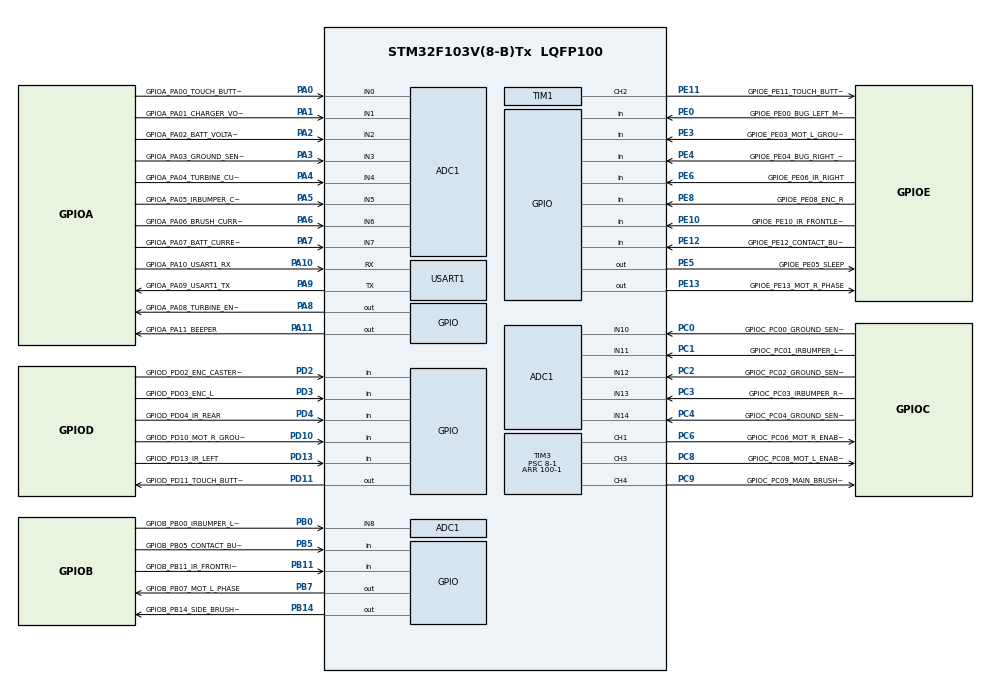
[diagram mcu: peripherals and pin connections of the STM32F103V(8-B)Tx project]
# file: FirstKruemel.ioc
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PB14.GPIO_Label=GPIOB_PB14_SIDE_BRUSH_ENABLE
PE8.GPIO_PuPd=GPIO_NOPULL
PC6.GPIO_Label=GPIOC_PC06_MOT_R_ENABLE
PE10.GPIO_PuPd=GPIO_NOPULL
PA6.GPIO_Label=GPIOA_PA06_BRUSH_CURRENT
PB13.Signal=SPI2_SCK
TIM3.Channel-PWM\ Generation4\ CH4=TIM_CHANNEL_4
PE6.GPIO_Label=GPIOE_PE06_IR_RIGHT
PD4.Signal=GPIO_Input
PC3.Signal=ADCx_IN13
PE5.Signal=GPIO_Output
PC4.GPIO_Label=GPIOC_PC04_GROUND_SENSOR_FRONTRIGHT
NVIC.TIM2_IRQn=true\:0\:0\:false\:false\:true\:false\:false\:true
PE4.GPIO_Label=GPIOE_PE04_BUG_RIGHT_MAGNET
SH.ADCx_IN8.0=ADC1_IN8,IN8
PA8.Signal=GPIO_Output
TIM4.Period=100
PE10.Signal=GPIO_Input
VP_TIM1_VS_ClockSourceINT.Mode=Internal
Mcu.Package=LQFP100
VP_SYS_VS_tim2.Mode=TIM2
ADC1.EnableInjectedConversion=DISABLE
NVIC.TimeBase=TIM2_IRQn
SH.ADCx_IN14.0=ADC1_IN14,IN14
NVIC.TimeBaseIP=TIM2
PA10.Signal=USART1_RX
PE12.GPIO_Label=GPIOE_PE12_CONTACT_BUMPER_R
RCC.APB1TimFreq_Value=8000000
TIM1.Period=100-1
PD3.GPIO_PuPd=GPIO_NOPULL
NVIC.USART1_IRQn=true\:5\:0\:false\:false\:true\:true\:true\:true
PE10.GPIO_Label=GPIOE_PE10_IR_FRONTLEFT
PE6.GPIO_PuPd=GPIO_NOPULL
PA4.GPIO_Label=GPIOA_PA04_TURBINE_CURRENT
PE12.GPIO_PuPd=GPIO_NOPULL
PB7.GPIO_PuPd=GPIO_NOPULL
FREERTOS.Tasks01=defaultTask,24,128,StartDefaultTask,Default,NULL,Dynamic,NULL,NULL;motionWD,33,128,motion_wd,Default,NULL,Dynamic,NULL,NULL
PA1.GPIO_Mode=GPIO_MODE_ANALOG
PD2.GPIO_PuPd=GPIO_NOPULL
TIM3.AutoReloadPreload=TIM_AUTORELOAD_PRELOAD_ENABLE
SH.ADCx_IN6.0=ADC1_IN6,IN6
PA9.GPIO_Label=GPIOA_PA09_USART1_TX
PD3.Signal=GPIO_Input
PC2.Signal=ADCx_IN12
PC6.Signal=S_TIM3_CH1
PB11.GPIO_Label=GPIOB_PB11_IR_FRONTRIGHT
PA11.GPIO_Label=GPIOA_PA11_BEEPER
PC0.Signal=ADCx_IN10
RCC.APB1CLKDivider=RCC_HCLK_DIV2
PA0-WKUP.GPIO_Label=GPIOA_PA00_TOUCH_BUTTON
PA0-WKUP.Signal=ADCx_IN0
PD10.Signal=GPIO_Input
TIM3.Channel-PWM\ Generation3\ CH3=TIM_CHANNEL_3
PA8.GPIO_Label=GPIOA_PA08_TURBINE_ENABLE
SH.ADCx_IN7.0=ADC1_IN7,IN7
Dma.USART1_RX.0.Direction=DMA_PERIPH_TO_MEMORY
PE8.GPIO_Label=GPIOE_PE08_ENC_R
PA9.Signal=USART1_TX
TIM1.Channel-PWM\ Generation2\ CH2=TIM_CHANNEL_2
Dma.USART1_RX.0.PeriphInc=DMA_PINC_DISABLE
PB10.Signal=USART3_TX
PB14.Signal=GPIO_Output
PA5.Signal=ADCx_IN5
PE8.Signal=GPIO_Input
PA1.GPIO_Label=GPIOA_PA01_CHARGER_VOLTAGE
SH.ADCx_IN4.0=ADC1_IN4,IN4
PA13.Mode=Serial_Wire
PE4.GPIO_PuPd=GPIO_NOPULL
PA4.Signal=ADCx_IN4
ADC1.SamplingTime-1\#ChannelRegularConversion=ADC_SAMPLETIME_1CYCLE_5
PB5.Signal=GPIO_Input
ADC1.master=1
PE13.GPIO_Label=GPIOE_PE13_MOT_R_PHASE
PA5.GPIO_Label=GPIOA_PA05_IRBUMPER_CENTER
PD11.Signal=GPIO_Output
PB5.GPIO_PuPd=GPIO_NOPULL
PE5.GPIO_Label=GPIOE_PE05_SLEEP
USART1.VirtualMode=VM_ASYNC
ADC1.Rank-1\#ChannelRegularConversion=1
PA11.Signal=GPIO_Output
ProjectManager.HeapSize=0x200
SH.ADCx_IN5.0=ADC1_IN5,IN5
VP_TIM4_VS_ClockSourceINT.Mode=Internal
NVIC.PriorityGroup=NVIC_PRIORITYGROUP_4
PE3.Signal=GPIO_Input
PC3.GPIO_Label=GPIOC_PC03_IRBUMPER_RIGHT
PD2.Signal=GPIO_Input
PB0.Signal=ADCx_IN8
PC1.Signal=ADCx_IN11
PD2.GPIO_Label=GPIOD_PD02_ENC_CASTER_WHEEL
Mcu.Family=STM32F1
NVIC.DMA1_Channel5_IRQn=true\:5\:0\:false\:false\:true\:true\:false\:true
ADC1.ContinuousConvMode=ENABLE
PE11.GPIO_Label=GPIOE_PE11_TOUCH_BUTTON_COLOR_2
SH.ADCx_IN2.0=ADC1_IN2,IN2
PC0.GPIO_Label=GPIOC_PC00_GROUND_SENSOR_LEFT
PB0.GPIO_Label=GPIOB_PB00_IRBUMPER_LEFT
PB11.GPIO_PuPd=GPIO_NOPULL
PB13.GPIO_Label=GPIOB_PB13_SPI2_SCK
PB11.Signal=GPIO_Input
ProjectManager.StackSize=0x400
VP_FREERTOS_VS_CMSIS_V2.Mode=CMSIS_V2
PD13.Signal=GPIO_Input
PD11.GPIO_PuPd=GPIO_NOPULL
TIM1.Prescaler=8-1
PE5.GPIO_PuPd=GPIO_NOPULL
PD11.GPIO_Label=GPIOD_PD11_TOUCH_BUTTON_COLOR_1
SH.ADCx_IN3.0=ADC1_IN3,IN3
TIM3.Period=100-1
Dma.USART1_RX.0.Priority=DMA_PRIORITY_LOW
TIM3.Channel-PWM\ Generation1\ CH1=TIM_CHANNEL_1
PE13.GPIO_PuPd=GPIO_NOPULL
RCC.PLLMUL=RCC_PLL_MUL16
PE13.Signal=GPIO_Output
PA14.Mode=Serial_Wire
TIM3.Prescaler=8-1
PA10.GPIO_Label=GPIOA_PA10_USART1_RX
PB7.Signal=GPIO_Output
SH.ADCx_IN0.0=ADC1_IN0,IN0
SH.S_TIM3_CH1.0=TIM3_CH1,PWM Generation1 CH1
Dma.USART1_RX.0.MemInc=DMA_MINC_ENABLE
PE4.Signal=GPIO_Input
PB7.GPIO_Label=GPIOB_PB07_MOT_L_PHASE
PD13.GPIO_Label=GPIOD_PD13_IR_LEFT
PA6.Signal=ADCx_IN6
PA2.GPIO_Label=GPIOA_PA02_BATT_VOLTAGE
PE0.GPIO_Label=GPIOE_PE00_BUG_LEFT_MAGNET
SH.ADCx_IN1.0=ADC1_IN1,IN1
PB5.GPIO_Label=GPIOB_PB05_CONTACT_BUMPER_L
Dma.USART1_RX.0.Mode=DMA_NORMAL
PD3.GPIO_Label=GPIOD_PD03_ENC_L
Dma.Request0=USART1_RX
PC2.GPIO_Label=GPIOC_PC02_GROUND_SENSOR_FRONTLEFT
Dma.USART1_RX.0.Instance=DMA1_Channel5
VP_TIM3_VS_ClockSourceINT.Mode=Internal
PA3.Signal=ADCx_IN3
PE0.GPIO_PuPd=GPIO_NOPULL
SH.ADCx_IN13.0=ADC1_IN13,IN13
Dma.USART1_RX.0.PeriphDataAlignment=DMA_PDATAALIGN_BYTE
PA10.Mode=Asynchronous
PC9.GPIO_Label=GPIOC_PC09_MAIN_BRUSH_ENABLE
PC8.Signal=S_TIM3_CH3
PC4.Signal=ADCx_IN14
SH.S_TIM3_CH3.0=TIM3_CH3,PWM Generation3 CH3
PC8.GPIO_Label=GPIOC_PC08_MOT_L_ENABLE
PA13.Signal=SYS_JTMS-SWDIO
PD4.GPIO_PuPd=GPIO_NOPULL
PA9.Mode=Asynchronous
SH.ADCx_IN12.0=ADC1_IN12,IN12
ProjectManager.TargetToolchain=STM32CubeIDE
PB10.GPIO_Label=GPIOB_PB10_GROUND_SENSORS_TX
ADC1.Channel-1\#ChannelRegularConversion=ADC_CHANNEL_0
RCC.USBFreq_Value=64000000
PD10.GPIO_Label=GPIOD_PD10_MOT_R_GROUND
TIM4.Prescaler=8
PE11.Signal=S_TIM1_CH2
PA1.Signal=ADCx_IN1
board=custom
RCC.APB2Freq_Value=8000000
SH.ADCx_IN11.0=ADC1_IN11,IN11
SH.S_TIM1_CH2.0=TIM1_CH2,PWM Generation2 CH2
PD4.GPIO_Label=GPIOD_PD04_IR_REAR
PC1.GPIO_Label=GPIOC_PC01_IRBUMPER_LEFT_WALL
Dma.USART1_RX.0.MemDataAlignment=DMA_MDATAALIGN_BYTE
PD13.GPIO_PuPd=GPIO_NOPULL
PE6.Signal=GPIO_Input
ADC1.NbrOfConversion=1
Mcu.Name=STM32F103V(8-B)Tx
PE0.Signal=GPIO_Input
PE12.Signal=GPIO_Input
PA2.Signal=ADCx_IN2
PA7.GPIO_Label=GPIOA_PA07_BATT_CURRENT
PA14.Signal=SYS_JTCK-SWCLK
SH.ADCx_IN10.0=ADC1_IN10,IN10
ADC1.NbrOfConversionFlag=1
PE3.GPIO_Label=GPIOE_PE03_MOT_L_GROUND
PC9.Signal=S_TIM3_CH4
RCC.APB1Freq_Value=4000000
PA3.GPIO_Label=GPIOA_PA03_GROUND_SENSOR_RIGHT
SH.S_TIM3_CH4.0=TIM3_CH4,PWM Generation4 CH4
PA7.Signal=ADCx_IN7

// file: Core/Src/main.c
/* USER CODE BEGIN Header */
/**
  ******************************************************************************
  * @file           : main.c
  * @brief          : Main program body
  ******************************************************************************
  * @attention
  *
  * <h2><center>&copy; Copyright (c) 2021 STMicroelectronics.
  * All rights reserved.</center></h2>
  *
  * This software component is licensed by ST under BSD 3-Clause license,
  * the "License"; You may not use this file except in compliance with the
  * License. You may obtain a copy of the License at:
  *                        opensource.org/licenses/BSD-3-Clause
  *
  ******************************************************************************
  */
/* USER CODE END Header */
#include "main.h"
#include "cmsis_os.h"

/* USER CODE BEGIN Includes */
#include "ringbuffer.h"
#include <stdio.h>
#include "string.h"
#include <inttypes.h>
#include "parson.h"

/* USER CODE END Includes */

/* USER CODE BEGIN PTD */

struct Config {
	int Max_RSpeed;
	int Max_LSpeed;
	int Acc;
	int Tar_RSpeed;
	int Tar_LSpeed;
	int SideBrush;
	int MainBrush;
	int Turbine;
} myconfig;

int sgn(double x) {
  if (x > 0.0) return 1;
  if (x < 0.0) return -1;
  return 0;
}

/* USER CODE END PTD */

ADC_HandleTypeDef hadc1;

TIM_HandleTypeDef htim1;
TIM_HandleTypeDef htim3;
TIM_HandleTypeDef htim4;

UART_HandleTypeDef huart1;
DMA_HandleTypeDef hdma_usart1_rx;

/* Definitions for defaultTask */
osThreadId_t defaultTaskHandle;
const osThreadAttr_t defaultTask_attributes = {
  .name = "defaultTask",
  .stack_size = 128 * 4,
  .priority = (osPriority_t) osPriorityNormal,
};
/* Definitions for motionWD */
osThreadId_t motionWDHandle;
const osThreadAttr_t motionWD_attributes = {
  .name = "motionWD",
  .stack_size = 128 * 4,
  .priority = (osPriority_t) osPriorityAboveNormal1,
};
/* USER CODE BEGIN PV */
ringbuf_uint8t uart_rx_rb;
#define uart_tmp_rx_buffer_size 128
uint8_t uart_tmp_rx_buffer[uart_tmp_rx_buffer_size];
#define uart_rx_buffer_size 128
uint8_t uart_rx_buffer[uart_rx_buffer_size];
#define command_buffer_size 128
uint8_t command_buffer[command_buffer_size];

size_t i;

/* USER CODE END PV */

void SystemClock_Config(void);
static void MX_GPIO_Init(void);
static void MX_DMA_Init(void);
static void MX_ADC1_Init(void);
static void MX_TIM3_Init(void);
static void MX_TIM1_Init(void);
static void MX_TIM4_Init(void);
static void MX_USART1_UART_Init(void);
void StartDefaultTask(void *argument);
void motion_wd(void *argument);

/* USER CODE BEGIN 0 */

int setter(char* vars[], char* vals[], int Size)
{
	for (size_t t=0; t<Size;t++)
	{
		if (strcmp(vars[t], "Max_RSpeed")==0)
		{
			myconfig.Max_RSpeed = (int) strtol(vals[t], (char **)NULL, 10);
		}
		else if (strcmp(vars[t], "Max_LSpeed")==0)
		{
			myconfig.Max_LSpeed = (int) strtol(vals[t], (char **)NULL, 10);
		}
		else if (strcmp(vars[t], "Acc")==0)
		{
			myconfig.Acc = (int) strtol(vals[t], (char **)NULL, 10);
		}
		else if (strcmp(vars[t], "Tar_RSpeed")==0)
		{
			myconfig.Tar_RSpeed = (int) strtol(vals[t], (char **)NULL, 10);
		}
		else if (strcmp(vars[t], "Tar_LSpeed")==0)
		{
			myconfig.Tar_LSpeed = (int) strtol(vals[t], (char **)NULL, 10);
		}
		else if (strcmp(vars[t], "MainBrush")==0)
		{
			myconfig.MainBrush = (int) strtol(vals[t], (char **)NULL, 10);
		}
		else if (strcmp(vars[t], "SideBrush")==0)
		{
			myconfig.SideBrush= (int) strtol(vals[t], (char **)NULL, 10);
		}
		else if (strcmp(vars[t], "Turbine")==0)
		{
			myconfig.Turbine = (int) strtol(vals[t], (char **)NULL, 10);
		}
		else
		{
			return -1;
		}
	}
	return 0;
}

void getter(char* vars[], char* vals[], int Size)
{
	for (size_t t=0; t<Size;t++)
	{
		if (strcmp(vars[t], "Max_RSpeed")==0)
		{
			sprintf(vals[t], "%d", myconfig.Max_RSpeed);
		}
		else if (strcmp(vars[t], "Max_LSpeed")==0)
		{
			sprintf(vals[t], "%d", myconfig.Max_LSpeed);
		}
		else if (strcmp(vars[t], "Acc")==0)
		{
			sprintf(vals[t], "%d", myconfig.Acc);
		}
		else if (strcmp(vars[t], "Tar_RSpeed")==0)
		{
			sprintf(vals[t], "%d", myconfig.Tar_RSpeed);
		}
		else if (strcmp(vars[t], "Tar_LSpeed")==0)
		{
			sprintf(vals[t], "%d", myconfig.Tar_LSpeed);
		}
		else if (strcmp(vars[t], "MainBrush")==0)
		{
			sprintf(vals[t], "%d", myconfig.MainBrush);
		}
		else if (strcmp(vars[t], "SideBrush")==0)
		{
			sprintf(vals[t], "%d", myconfig.SideBrush);
		}
		else if (strcmp(vars[t], "Turbine")==0)
		{
			sprintf(vals[t], "%d", myconfig.Turbine);
		}
		else
		{
			sprintf(vals[t], "%d", -555);
		}
	}
}

void return_getter(char* vars[], char* vals[], int Size, char* ser)
{
	JSON_Value *root_value = json_value_init_object();
	JSON_Object *root_object = json_value_get_object(root_value);
	for (size_t t=0; t<Size; t++)
	{
		json_object_set_string(root_object, vars[t], vals[t]);
	}
	strcpy(ser, json_serialize_to_string(root_value));
}

void HAL_UARTEx_RxEventCallback(UART_HandleTypeDef *huart, uint16_t Size)
{
	if (huart->Instance == USART1)
	{
		for (int i=0;i<Size;i++)
		{
			if (uart_tmp_rx_buffer[i] == '\x0D')
			{
				// delete command_buffer
				command_buffer[0] = '\0';
				int c=0;
				while( !rb_isempty(&uart_rx_rb) )
				{
					uint8_t *tx_byte_ptr = rb_get(&uart_rx_rb);
					command_buffer[c] = *tx_byte_ptr;
					c++;
				}
				JSON_Value *root_value;
				JSON_Array *tokens;
				JSON_Object *token;
				root_value = json_parse_string(command_buffer);
				tokens = json_object(root_value);

				char* cmd = json_object_get_string(tokens, "command");
				int tot;
				if (strcmp(cmd,"get")==0 || strcmp(cmd, "set")==0)
				{
					JSON_Value* jsonvar = json_object_get_value(tokens, "var");
					JSON_Value* jsonval;
					if (strcmp(cmd, "set")==0)
					{
						jsonval = json_object_get_value(tokens, "val");
					}
					if (json_value_get_type(jsonvar) == JSONString)
					{
						tot=1;
					}
					else if (json_value_get_type(jsonvar) == JSONArray)
					{
						tot = json_array_get_count(json_array(jsonvar));
					}
					char vars[tot][20];
					char vals[tot][20];
					char* vals_ptr[tot];
					char* vars_ptr[tot];
					if (json_value_get_type(jsonvar) == JSONString)
					{
						strcpy(vars[0], json_value_get_string(jsonvar));
						vars_ptr[0] = vars[0];
						if (strcmp(cmd, "set")==0)
						{
							strcpy(vals[0], json_value_get_string(jsonval));
						}
						vals_ptr[0] = vals[0];
					}
					else if (json_value_get_type(jsonvar) == JSONArray)
					{
						JSON_Array* vararr = json_array(jsonvar);
						for (size_t t=0; t<tot;t++)
						{
							strcpy(vars[t], json_array_get_string(vararr,t));
							vars_ptr[t] = vars[t];
							if (strcmp(cmd, "set")==0)
							{
								strcpy(vals[t], json_array_get_string(json_array(jsonval),t));
							}
							vals_ptr[t] = vals[t];
						}
					}
					if (strcmp(cmd,"get")==0)
					{
						getter(vars_ptr,vals_ptr,tot);
						char ret[255];
						return_getter(vars_ptr, vals_ptr, tot, ret);
						HAL_UART_Transmit(&huart1, ret, strlen(ret), 1000);
					}
					else
					{
						int ret = setter(vars_ptr, vals_ptr, tot);
						if (ret==0)
						{
							HAL_UART_Transmit(&huart1, "1\x0D", 3, 1000);
						}
						else
						{
							HAL_UART_Transmit(&huart1, "0\x0D", 3, 1000);
						}
					}
				}
			}
			else
			{
				rb_put(&uart_rx_rb, uart_tmp_rx_buffer[i]);
			}
		}
		HAL_UARTEx_ReceiveToIdle_DMA(&huart1, uart_tmp_rx_buffer, uart_tmp_rx_buffer_size);
		__HAL_DMA_DISABLE_IT(&hdma_usart1_rx, DMA_IT_HT);
	}

}

/* USER CODE END 0 */

int main(void)
{

  /* MCU Configuration--------------------------------------------------------*/

  /* Reset of all peripherals, Initializes the Flash interface and the Systick. */
  HAL_Init();

  /* USER CODE BEGIN Init */
  myconfig.Acc = 5;
  myconfig.Max_LSpeed = 100;
  myconfig.Max_RSpeed = 100;
  myconfig.Tar_LSpeed = 0;
  myconfig.Tar_RSpeed = 0;

  /* USER CODE END Init */

  /* Configure the system clock */
  SystemClock_Config();

  /* Initialize all configured peripherals */
  MX_GPIO_Init();
  MX_DMA_Init();
  MX_ADC1_Init();
  MX_TIM3_Init();
  MX_TIM1_Init();
  MX_TIM4_Init();
  MX_USART1_UART_Init();
  /* USER CODE BEGIN 2 */

  rb_init(&uart_rx_rb, uart_rx_buffer, uart_rx_buffer_size);

  HAL_UARTEx_ReceiveToIdle_DMA(&huart1, uart_tmp_rx_buffer, uart_tmp_rx_buffer_size);
  __HAL_DMA_DISABLE_IT(&hdma_usart1_rx, DMA_IT_HT);

  HAL_UART_Transmit(&huart1, "Started\x0A\x0D", 9, 1000);

  HAL_ADC_Start(&hadc1);
  HAL_GPIO_WritePin(GPIOE_PE05_SLEEP_GPIO_Port, GPIOE_PE05_SLEEP_Pin, GPIO_PIN_SET);

  /* USER CODE END 2 */

  /* Init scheduler */
  osKernelInitialize();

  /* Create the thread(s) */
  /* creation of defaultTask */
  defaultTaskHandle = osThreadNew(StartDefaultTask, NULL, &defaultTask_attributes);

  /* creation of motionWD */
  motionWDHandle = osThreadNew(motion_wd, NULL, &motionWD_attributes);

  /* Start scheduler */
  osKernelStart();

  /* We should never get here as control is now taken by the scheduler */
  /* Infinite loop */
  while (1)
  {

  }
}

void SystemClock_Config(void)
{
  RCC_OscInitTypeDef RCC_OscInitStruct = {0};
  RCC_ClkInitTypeDef RCC_ClkInitStruct = {0};
  RCC_PeriphCLKInitTypeDef PeriphClkInit = {0};

  /** Initializes the RCC Oscillators according to the specified parameters
  * in the RCC_OscInitTypeDef structure.
  */
  RCC_OscInitStruct.OscillatorType = RCC_OSCILLATORTYPE_HSI;
  RCC_OscInitStruct.HSIState = RCC_HSI_ON;
  RCC_OscInitStruct.HSICalibrationValue = RCC_HSICALIBRATION_DEFAULT;
  RCC_OscInitStruct.PLL.PLLState = RCC_PLL_NONE;
  if (HAL_RCC_OscConfig(&RCC_OscInitStruct) != HAL_OK)
  {
    Error_Handler();
  }
  /** Initializes the CPU, AHB and APB buses clocks
  */
  RCC_ClkInitStruct.ClockType = RCC_CLOCKTYPE_HCLK|RCC_CLOCKTYPE_SYSCLK
                              |RCC_CLOCKTYPE_PCLK1|RCC_CLOCKTYPE_PCLK2;
  RCC_ClkInitStruct.SYSCLKSource = RCC_SYSCLKSOURCE_HSI;
  RCC_ClkInitStruct.AHBCLKDivider = RCC_SYSCLK_DIV1;
  RCC_ClkInitStruct.APB1CLKDivider = RCC_HCLK_DIV2;
  RCC_ClkInitStruct.APB2CLKDivider = RCC_HCLK_DIV1;

  if (HAL_RCC_ClockConfig(&RCC_ClkInitStruct, FLASH_LATENCY_0) != HAL_OK)
  {
    Error_Handler();
  }
  PeriphClkInit.PeriphClockSelection = RCC_PERIPHCLK_ADC;
  PeriphClkInit.AdcClockSelection = RCC_ADCPCLK2_DIV2;
  if (HAL_RCCEx_PeriphCLKConfig(&PeriphClkInit) != HAL_OK)
  {
    Error_Handler();
  }
}

static void MX_ADC1_Init(void)
{

  ADC_ChannelConfTypeDef sConfig = {0};

  /** Common config
  */
  hadc1.Instance = ADC1;
  hadc1.Init.ScanConvMode = ADC_SCAN_DISABLE;
  hadc1.Init.ContinuousConvMode = ENABLE;
  hadc1.Init.DiscontinuousConvMode = DISABLE;
  hadc1.Init.ExternalTrigConv = ADC_SOFTWARE_START;
  hadc1.Init.DataAlign = ADC_DATAALIGN_RIGHT;
  hadc1.Init.NbrOfConversion = 1;
  if (HAL_ADC_Init(&hadc1) != HAL_OK)
  {
    Error_Handler();
  }
  /** Configure Regular Channel
  */
  sConfig.Channel = ADC_CHANNEL_0;
  sConfig.Rank = ADC_REGULAR_RANK_1;
  sConfig.SamplingTime = ADC_SAMPLETIME_1CYCLE_5;
  if (HAL_ADC_ConfigChannel(&hadc1, &sConfig) != HAL_OK)
  {
    Error_Handler();
  }

}

static void MX_TIM1_Init(void)
{

  TIM_ClockConfigTypeDef sClockSourceConfig = {0};
  TIM_MasterConfigTypeDef sMasterConfig = {0};
  TIM_OC_InitTypeDef sConfigOC = {0};
  TIM_BreakDeadTimeConfigTypeDef sBreakDeadTimeConfig = {0};

  htim1.Instance = TIM1;
  htim1.Init.Prescaler = 8-1;
  htim1.Init.CounterMode = TIM_COUNTERMODE_UP;
  htim1.Init.Period = 100-1;
  htim1.Init.ClockDivision = TIM_CLOCKDIVISION_DIV1;
  htim1.Init.RepetitionCounter = 0;
  htim1.Init.AutoReloadPreload = TIM_AUTORELOAD_PRELOAD_DISABLE;
  if (HAL_TIM_Base_Init(&htim1) != HAL_OK)
  {
    Error_Handler();
  }
  sClockSourceConfig.ClockSource = TIM_CLOCKSOURCE_INTERNAL;
  if (HAL_TIM_ConfigClockSource(&htim1, &sClockSourceConfig) != HAL_OK)
  {
    Error_Handler();
  }
  if (HAL_TIM_PWM_Init(&htim1) != HAL_OK)
  {
    Error_Handler();
  }
  sMasterConfig.MasterOutputTrigger = TIM_TRGO_RESET;
  sMasterConfig.MasterSlaveMode = TIM_MASTERSLAVEMODE_DISABLE;
  if (HAL_TIMEx_MasterConfigSynchronization(&htim1, &sMasterConfig) != HAL_OK)
  {
    Error_Handler();
  }
  sConfigOC.OCMode = TIM_OCMODE_PWM1;
  sConfigOC.Pulse = 0;
  sConfigOC.OCPolarity = TIM_OCPOLARITY_HIGH;
  sConfigOC.OCNPolarity = TIM_OCNPOLARITY_HIGH;
  sConfigOC.OCFastMode = TIM_OCFAST_DISABLE;
  sConfigOC.OCIdleState = TIM_OCIDLESTATE_RESET;
  sConfigOC.OCNIdleState = TIM_OCNIDLESTATE_RESET;
  if (HAL_TIM_PWM_ConfigChannel(&htim1, &sConfigOC, TIM_CHANNEL_2) != HAL_OK)
  {
    Error_Handler();
  }
  sBreakDeadTimeConfig.OffStateRunMode = TIM_OSSR_DISABLE;
  sBreakDeadTimeConfig.OffStateIDLEMode = TIM_OSSI_DISABLE;
  sBreakDeadTimeConfig.LockLevel = TIM_LOCKLEVEL_OFF;
  sBreakDeadTimeConfig.DeadTime = 0;
  sBreakDeadTimeConfig.BreakState = TIM_BREAK_DISABLE;
  sBreakDeadTimeConfig.BreakPolarity = TIM_BREAKPOLARITY_HIGH;
  sBreakDeadTimeConfig.AutomaticOutput = TIM_AUTOMATICOUTPUT_DISABLE;
  if (HAL_TIMEx_ConfigBreakDeadTime(&htim1, &sBreakDeadTimeConfig) != HAL_OK)
  {
    Error_Handler();
  }
  HAL_TIM_MspPostInit(&htim1);

}

static void MX_TIM3_Init(void)
{

  TIM_ClockConfigTypeDef sClockSourceConfig = {0};
  TIM_MasterConfigTypeDef sMasterConfig = {0};
  TIM_OC_InitTypeDef sConfigOC = {0};

  htim3.Instance = TIM3;
  htim3.Init.Prescaler = 8-1;
  htim3.Init.CounterMode = TIM_COUNTERMODE_UP;
  htim3.Init.Period = 100-1;
  htim3.Init.ClockDivision = TIM_CLOCKDIVISION_DIV1;
  htim3.Init.AutoReloadPreload = TIM_AUTORELOAD_PRELOAD_ENABLE;
  if (HAL_TIM_Base_Init(&htim3) != HAL_OK)
  {
    Error_Handler();
  }
  sClockSourceConfig.ClockSource = TIM_CLOCKSOURCE_INTERNAL;
  if (HAL_TIM_ConfigClockSource(&htim3, &sClockSourceConfig) != HAL_OK)
  {
    Error_Handler();
  }
  if (HAL_TIM_PWM_Init(&htim3) != HAL_OK)
  {
    Error_Handler();
  }
  sMasterConfig.MasterOutputTrigger = TIM_TRGO_RESET;
  sMasterConfig.MasterSlaveMode = TIM_MASTERSLAVEMODE_DISABLE;
  if (HAL_TIMEx_MasterConfigSynchronization(&htim3, &sMasterConfig) != HAL_OK)
  {
    Error_Handler();
  }
  sConfigOC.OCMode = TIM_OCMODE_PWM1;
  sConfigOC.Pulse = 0;
  sConfigOC.OCPolarity = TIM_OCPOLARITY_HIGH;
  sConfigOC.OCFastMode = TIM_OCFAST_DISABLE;
  if (HAL_TIM_PWM_ConfigChannel(&htim3, &sConfigOC, TIM_CHANNEL_1) != HAL_OK)
  {
    Error_Handler();
  }
  if (HAL_TIM_PWM_ConfigChannel(&htim3, &sConfigOC, TIM_CHANNEL_3) != HAL_OK)
  {
    Error_Handler();
  }
  if (HAL_TIM_PWM_ConfigChannel(&htim3, &sConfigOC, TIM_CHANNEL_4) != HAL_OK)
  {
    Error_Handler();
  }
  HAL_TIM_MspPostInit(&htim3);

}

static void MX_TIM4_Init(void)
{

  TIM_ClockConfigTypeDef sClockSourceConfig = {0};
  TIM_MasterConfigTypeDef sMasterConfig = {0};

  htim4.Instance = TIM4;
  htim4.Init.Prescaler = 8;
  htim4.Init.CounterMode = TIM_COUNTERMODE_UP;
  htim4.Init.Period = 100;
  htim4.Init.ClockDivision = TIM_CLOCKDIVISION_DIV1;
  htim4.Init.AutoReloadPreload = TIM_AUTORELOAD_PRELOAD_DISABLE;
  if (HAL_TIM_Base_Init(&htim4) != HAL_OK)
  {
    Error_Handler();
  }
  sClockSourceConfig.ClockSource = TIM_CLOCKSOURCE_INTERNAL;
  if (HAL_TIM_ConfigClockSource(&htim4, &sClockSourceConfig) != HAL_OK)
  {
    Error_Handler();
  }
  sMasterConfig.MasterOutputTrigger = TIM_TRGO_RESET;
  sMasterConfig.MasterSlaveMode = TIM_MASTERSLAVEMODE_DISABLE;
  if (HAL_TIMEx_MasterConfigSynchronization(&htim4, &sMasterConfig) != HAL_OK)
  {
    Error_Handler();
  }

}

static void MX_USART1_UART_Init(void)
{

  huart1.Instance = USART1;
  huart1.Init.BaudRate = 115200;
  huart1.Init.WordLength = UART_WORDLENGTH_8B;
  huart1.Init.StopBits = UART_STOPBITS_1;
  huart1.Init.Parity = UART_PARITY_NONE;
  huart1.Init.Mode = UART_MODE_TX_RX;
  huart1.Init.HwFlowCtl = UART_HWCONTROL_NONE;
  huart1.Init.OverSampling = UART_OVERSAMPLING_16;
  if (HAL_UART_Init(&huart1) != HAL_OK)
  {
    Error_Handler();
  }

}

static void MX_DMA_Init(void)
{

  /* DMA controller clock enable */
  __HAL_RCC_DMA1_CLK_ENABLE();

  /* DMA interrupt init */
  /* DMA1_Channel5_IRQn interrupt configuration */
  HAL_NVIC_SetPriority(DMA1_Channel5_IRQn, 5, 0);
  HAL_NVIC_EnableIRQ(DMA1_Channel5_IRQn);

}

static void MX_GPIO_Init(void)
{
  GPIO_InitTypeDef GPIO_InitStruct = {0};

  /* GPIO Ports Clock Enable */
  __HAL_RCC_GPIOE_CLK_ENABLE();
  __HAL_RCC_GPIOC_CLK_ENABLE();
  __HAL_RCC_GPIOA_CLK_ENABLE();
  __HAL_RCC_GPIOB_CLK_ENABLE();
  __HAL_RCC_GPIOD_CLK_ENABLE();

  /*Configure GPIO pin Output Level */
  HAL_GPIO_WritePin(GPIOE, GPIOE_PE05_SLEEP_Pin|GPIOE_PE13_MOT_R_PHASE_Pin, GPIO_PIN_RESET);

  /*Configure GPIO pin Output Level */
  HAL_GPIO_WritePin(GPIOB, GPIOB_PB14_SIDE_BRUSH_ENABLE_Pin|GPIOB_PB07_MOT_L_PHASE_Pin, GPIO_PIN_RESET);

  /*Configure GPIO pin Output Level */
  HAL_GPIO_WritePin(GPIOD_PD11_TOUCH_BUTTON_COLOR_1_GPIO_Port, GPIOD_PD11_TOUCH_BUTTON_COLOR_1_Pin, GPIO_PIN_RESET);

  /*Configure GPIO pin Output Level */
  HAL_GPIO_WritePin(GPIOA, GPIOA_PA08_TURBINE_ENABLE_Pin|GPIOA_PA11_BEEPER_Pin, GPIO_PIN_RESET);

  /*Configure GPIO pins : GPIOE_PE03_MOT_L_GROUND_Pin GPIOE_PE04_BUG_RIGHT_MAGNET_Pin GPIOE_PE06_IR_RIGHT_Pin GPIOE_PE08_ENC_R_Pin
                           GPIOE_PE10_IR_FRONTLEFT_Pin GPIOE_PE12_CONTACT_BUMPER_R_Pin GPIOE_PE00_BUG_LEFT_MAGNET_Pin */
  GPIO_InitStruct.Pin = GPIOE_PE03_MOT_L_GROUND_Pin|GPIOE_PE04_BUG_RIGHT_MAGNET_Pin|GPIOE_PE06_IR_RIGHT_Pin|GPIOE_PE08_ENC_R_Pin
                          |GPIOE_PE10_IR_FRONTLEFT_Pin|GPIOE_PE12_CONTACT_BUMPER_R_Pin|GPIOE_PE00_BUG_LEFT_MAGNET_Pin;
  GPIO_InitStruct.Mode = GPIO_MODE_INPUT;
  GPIO_InitStruct.Pull = GPIO_NOPULL;
  HAL_GPIO_Init(GPIOE, &GPIO_InitStruct);

  /*Configure GPIO pins : GPIOE_PE05_SLEEP_Pin GPIOE_PE13_MOT_R_PHASE_Pin */
  GPIO_InitStruct.Pin = GPIOE_PE05_SLEEP_Pin|GPIOE_PE13_MOT_R_PHASE_Pin;
  GPIO_InitStruct.Mode = GPIO_MODE_OUTPUT_PP;
  GPIO_InitStruct.Pull = GPIO_NOPULL;
  GPIO_InitStruct.Speed = GPIO_SPEED_FREQ_LOW;
  HAL_GPIO_Init(GPIOE, &GPIO_InitStruct);

  /*Configure GPIO pins : GPIOB_PB10_GROUND_SENSORS_TX_Pin GPIOB_PB13_SPI2_SCK_Pin */
  GPIO_InitStruct.Pin = GPIOB_PB10_GROUND_SENSORS_TX_Pin|GPIOB_PB13_SPI2_SCK_Pin;
  GPIO_InitStruct.Mode = GPIO_MODE_AF_PP;
  GPIO_InitStruct.Speed = GPIO_SPEED_FREQ_HIGH;
  HAL_GPIO_Init(GPIOB, &GPIO_InitStruct);

  /*Configure GPIO pins : GPIOB_PB11_IR_FRONTRIGHT_Pin GPIOB_PB05_CONTACT_BUMPER_L_Pin */
  GPIO_InitStruct.Pin = GPIOB_PB11_IR_FRONTRIGHT_Pin|GPIOB_PB05_CONTACT_BUMPER_L_Pin;
  GPIO_InitStruct.Mode = GPIO_MODE_INPUT;
  GPIO_InitStruct.Pull = GPIO_NOPULL;
  HAL_GPIO_Init(GPIOB, &GPIO_InitStruct);

  /*Configure GPIO pins : GPIOB_PB14_SIDE_BRUSH_ENABLE_Pin GPIOB_PB07_MOT_L_PHASE_Pin */
  GPIO_InitStruct.Pin = GPIOB_PB14_SIDE_BRUSH_ENABLE_Pin|GPIOB_PB07_MOT_L_PHASE_Pin;
  GPIO_InitStruct.Mode = GPIO_MODE_OUTPUT_PP;
  GPIO_InitStruct.Pull = GPIO_NOPULL;
  GPIO_InitStruct.Speed = GPIO_SPEED_FREQ_LOW;
  HAL_GPIO_Init(GPIOB, &GPIO_InitStruct);

  /*Configure GPIO pins : GPIOD_PD10_MOT_R_GROUND_Pin GPIOD_PD13_IR_LEFT_Pin GPIOD_PD02_ENC_CASTER_WHEEL_Pin GPIOD_PD03_ENC_L_Pin
                           GPIOD_PD04_IR_REAR_Pin */
  GPIO_InitStruct.Pin = GPIOD_PD10_MOT_R_GROUND_Pin|GPIOD_PD13_IR_LEFT_Pin|GPIOD_PD02_ENC_CASTER_WHEEL_Pin|GPIOD_PD03_ENC_L_Pin
                          |GPIOD_PD04_IR_REAR_Pin;
  GPIO_InitStruct.Mode = GPIO_MODE_INPUT;
  GPIO_InitStruct.Pull = GPIO_NOPULL;
  HAL_GPIO_Init(GPIOD, &GPIO_InitStruct);

  /*Configure GPIO pin : GPIOD_PD11_TOUCH_BUTTON_COLOR_1_Pin */
  GPIO_InitStruct.Pin = GPIOD_PD11_TOUCH_BUTTON_COLOR_1_Pin;
  GPIO_InitStruct.Mode = GPIO_MODE_OUTPUT_PP;
  GPIO_InitStruct.Pull = GPIO_NOPULL;
  GPIO_InitStruct.Speed = GPIO_SPEED_FREQ_LOW;
  HAL_GPIO_Init(GPIOD_PD11_TOUCH_BUTTON_COLOR_1_GPIO_Port, &GPIO_InitStruct);

  /*Configure GPIO pins : GPIOA_PA08_TURBINE_ENABLE_Pin GPIOA_PA11_BEEPER_Pin */
  GPIO_InitStruct.Pin = GPIOA_PA08_TURBINE_ENABLE_Pin|GPIOA_PA11_BEEPER_Pin;
  GPIO_InitStruct.Mode = GPIO_MODE_OUTPUT_PP;
  GPIO_InitStruct.Pull = GPIO_NOPULL;
  GPIO_InitStruct.Speed = GPIO_SPEED_FREQ_LOW;
  HAL_GPIO_Init(GPIOA, &GPIO_InitStruct);

}

/* USER CODE BEGIN 4 */

void setPW(TIM_HandleTypeDef timer, uint32_t channel, uint16_t period, uint16_t pulse)
{
	 HAL_TIM_PWM_Stop(&timer, channel); // stop generation of pwm
	 TIM_OC_InitTypeDef sConfigOC;
	 timer.Init.Period = period; // set the period duration
	 HAL_TIM_PWM_Init(&timer); // reinititialise with new period value
	 sConfigOC.OCMode = TIM_OCMODE_PWM1;
	 sConfigOC.Pulse = pulse; // set the pulse duration
	 sConfigOC.OCPolarity = TIM_OCPOLARITY_HIGH;
	 sConfigOC.OCFastMode = TIM_OCFAST_DISABLE;
	 HAL_TIM_PWM_ConfigChannel(&timer, &sConfigOC, channel);
	 HAL_TIM_PWM_Start(&timer, channel); // start pwm generation
}

/* USER CODE END 4 */

void StartDefaultTask(void *argument)
{
  /* USER CODE BEGIN 5 */
	  int myadc;
	  int increment;
	  _Bool vacuum = 0;
	  _Bool butpressed = 0;
	  int green = 0;

  /* Infinite loop */
  for(;;)
  {
	  if (green > 95) increment = -1;
	  if (green < 5) increment = 1;

	  green += increment;
	  setPW(htim1, TIM_CHANNEL_2, 100, green);

	  myadc = HAL_ADC_GetValue(&hadc1);

	  if (myadc < 100){
		  if (!butpressed){
			  vacuum = !vacuum;
			  butpressed = 1;
			  if (vacuum){
				  HAL_GPIO_WritePin(GPIOD_PD11_TOUCH_BUTTON_COLOR_1_GPIO_Port, GPIOD_PD11_TOUCH_BUTTON_COLOR_1_Pin, GPIO_PIN_SET);
				  myconfig.SideBrush = 50;
				  myconfig.MainBrush = 50;
				  myconfig.Turbine = 50;
			  }else{
				  HAL_GPIO_WritePin(GPIOD_PD11_TOUCH_BUTTON_COLOR_1_GPIO_Port, GPIOD_PD11_TOUCH_BUTTON_COLOR_1_Pin, GPIO_PIN_RESET);
				  myconfig.SideBrush = 0;
				  myconfig.MainBrush = 0;
				  myconfig.Turbine = 0;
			  }}
	  }else{
		  butpressed = 0;
	  }
	  osDelay(50);
  }
  /* USER CODE END 5 */
}

void motion_wd(void *argument)
{
  /* USER CODE BEGIN motion_wd */
  /* Infinite loop */
  for(;;)
  {
	  // Main Brush
	  setPW(htim3, TIM_CHANNEL_4, 100, abs((int)myconfig.MainBrush));
	  // Side Brush
	  if (myconfig.SideBrush > 0)
	  {
		  HAL_GPIO_WritePin(GPIOB_PB14_SIDE_BRUSH_ENABLE_GPIO_Port, GPIOB_PB14_SIDE_BRUSH_ENABLE_Pin, GPIO_PIN_SET);
	  }
	  else
	  {
		  HAL_GPIO_WritePin(GPIOB_PB14_SIDE_BRUSH_ENABLE_GPIO_Port, GPIOB_PB14_SIDE_BRUSH_ENABLE_Pin, GPIO_PIN_RESET);
	  }
	  // Turbine
	  if (myconfig.Turbine > 0)
	  {
		  HAL_GPIO_WritePin(GPIOA_PA08_TURBINE_ENABLE_GPIO_Port, GPIOA_PA08_TURBINE_ENABLE_Pin, GPIO_PIN_SET);
	  }
	  else
	  {
		  HAL_GPIO_WritePin(GPIOA_PA08_TURBINE_ENABLE_GPIO_Port, GPIOA_PA08_TURBINE_ENABLE_Pin, GPIO_PIN_RESET);
	  }
	  // Left motor
	  setPW(htim3, TIM_CHANNEL_3, 100, abs((int)myconfig.Tar_LSpeed));
	  if (myconfig.Tar_LSpeed < 0)
	  {
		  HAL_GPIO_WritePin(GPIOB_PB07_MOT_L_PHASE_GPIO_Port, GPIOB_PB07_MOT_L_PHASE_Pin, GPIO_PIN_RESET);
	  }
	  else
	  {
		  HAL_GPIO_WritePin(GPIOB_PB07_MOT_L_PHASE_GPIO_Port, GPIOB_PB07_MOT_L_PHASE_Pin, GPIO_PIN_SET);
	  }
	  // Right motor
	  setPW(htim3, TIM_CHANNEL_1, 100, abs((int)myconfig.Tar_RSpeed));
	  if (myconfig.Tar_RSpeed < 0)
	  {
		  HAL_GPIO_WritePin(GPIOE_PE13_MOT_R_PHASE_GPIO_Port, GPIOE_PE13_MOT_R_PHASE_Pin, GPIO_PIN_SET);
	  }
	  else
	  {
		  HAL_GPIO_WritePin(GPIOE_PE13_MOT_R_PHASE_GPIO_Port, GPIOE_PE13_MOT_R_PHASE_Pin, GPIO_PIN_RESET);
	  }
    osDelay(50);
  }
  /* USER CODE END motion_wd */
}

 /**
  * @brief  Period elapsed callback in non blocking mode
  * @note   This function is called  when TIM2 interrupt took place, inside
  * HAL_TIM_IRQHandler(). It makes a direct call to HAL_IncTick() to increment
  * a global variable "uwTick" used as application time base.
  * @param  htim : TIM handle
  * @retval None
  */
void HAL_TIM_PeriodElapsedCallback(TIM_HandleTypeDef *htim)
{
  if (htim->Instance == TIM2) {
    HAL_IncTick();
  }
}

void Error_Handler(void)
{
  __disable_irq();
  while (1)
  {
  }
}

/************************ (C) COPYRIGHT STMicroelectronics *****END OF FILE****/
